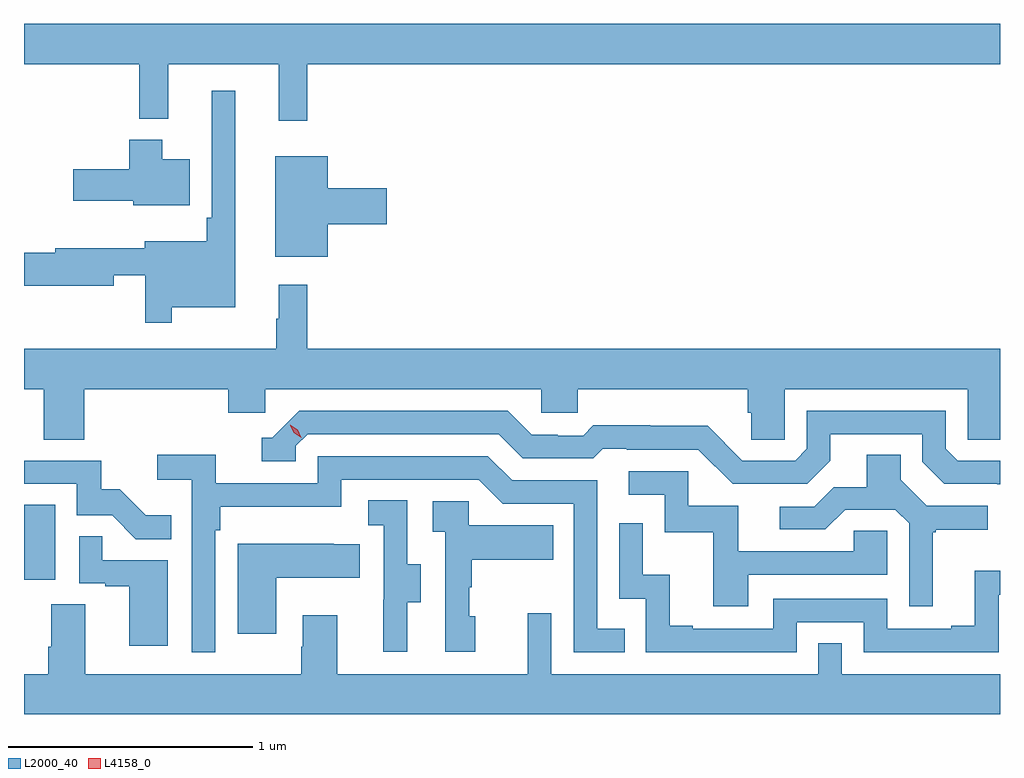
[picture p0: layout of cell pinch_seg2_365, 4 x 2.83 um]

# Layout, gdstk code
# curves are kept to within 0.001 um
import gdstk
lib = gdstk.Library(unit=1e-6, precision=1e-09)
def R(c, l, rs):  # rectangles x0, y0, x1, y1
    for r in rs: c.add(gdstk.rectangle(r[:2], r[2:], *l))
def P(c, l, *ps):  # polygons
    for p in ps: c.add(gdstk.Polygon(p, *l))
L2000_40 = (2000, 40)
L4158_0 = (4158, 0)

pinch_seg2_365 = lib.new_cell('pinch_seg2_365')
R(pinch_seg2_365, L2000_40, [(1008.734,606.894,1008.862,607.201)])
P(pinch_seg2_365, L2000_40, [(1009.895,609.008),(1012.734,609.008),(1012.734,609.172),(1008.734,609.172),(1008.734,609.008),(1009.207,609.008),(1009.207,608.783),(1009.325,608.783),(1009.325,609.008),(1009.778,609.008),(1009.778,608.775),(1009.895,608.775)],
  [(1009.339,608.012),(1009.6,608.012),(1009.6,608.899),(1009.503,608.899),(1009.503,608.377),(1009.483,608.377),(1009.483,608.281),(1009.229,608.281),(1009.229,608.252),(1008.863,608.252),(1008.863,608.234),(1008.734,608.234),(1008.734,608.099),(1009.102,608.099),(1009.102,608.142),(1009.23,608.142),(1009.23,607.947),(1009.339,607.947)],
  [(1009.414,608.617),(1009.3,608.617),(1009.3,608.698),(1009.166,608.698),(1009.166,608.577),(1008.936,608.577),(1008.936,608.447),(1009.182,608.447),(1009.182,608.429),(1009.414,608.429)],
  [(1009.978,608.351),(1010.221,608.351),(1010.221,608.498),(1009.978,608.498),(1009.978,608.629),(1009.763,608.629),(1009.763,608.219),(1009.978,608.219)],
  [(1008.98,607.676),(1009.571,607.676),(1009.571,607.578),(1009.722,607.578),(1009.722,607.676),(1010.853,607.676),(1010.853,607.578),(1011.003,607.578),(1011.003,607.676),(1011.701,607.676),(1011.701,607.578),(1011.715,607.578),(1011.715,607.468),(1011.852,607.468),(1011.852,607.676),(1012.602,607.676),(1012.602,607.468),(1012.734,607.468),(1012.734,607.84),(1009.895,607.84),(1009.895,608.104),(1009.778,608.104),(1009.778,607.964),(1009.767,607.964),(1009.767,607.84),(1008.734,607.84),(1008.734,607.676),(1008.815,607.676),(1008.815,607.468),(1008.98,607.468)],
  [(1012.734,607.383),(1012.56,607.383),(1012.512,607.431),(1012.512,607.587),(1011.942,607.587),(1011.942,607.431),(1011.894,607.383),(1011.678,607.383),(1011.536,607.525),(1011.3,607.525),(1011.3,607.528),(1011.067,607.528),(1011.025,607.485),(1010.922,607.485),(1010.922,607.488),(1010.815,607.488),(1010.716,607.587),(1009.863,607.587),(1009.752,607.476),(1009.709,607.476),(1009.709,607.38),(1009.848,607.38),(1009.848,607.443),(1009.896,607.491),(1010.679,607.491),(1010.778,607.392),(1011.067,607.392),(1011.106,607.431),(1011.205,607.431),(1011.205,607.428),(1011.498,607.428),(1011.639,607.287),(1011.945,607.287),(1012.039,607.381),(1012.039,607.491),(1012.416,607.491),(1012.416,607.377),(1012.506,607.287),(1012.734,607.286)],
  [(1012.459,607.089),(1012.471,607.089),(1012.471,607.1),(1012.684,607.1),(1012.684,607.197),(1012.434,607.197),(1012.327,607.304),(1012.327,607.406),(1012.187,607.406),(1012.187,607.274),(1012.052,607.274),(1011.972,607.194),(1011.831,607.194),(1011.831,607.101),(1012.018,607.101),(1012.099,607.182),(1012.305,607.182),(1012.362,607.125),(1012.362,606.786),(1012.459,606.786)],
  [(1009.518,607.097),(1009.538,607.097),(1009.538,607.193),(1010.034,607.193),(1010.034,607.305),(1010.598,607.305),(1010.697,607.206),(1010.988,607.206),(1010.988,606.597),(1011.197,606.597),(1011.197,606.693),(1011.084,606.693),(1011.084,607.302),(1010.734,607.302),(1010.635,607.401),(1009.938,607.401),(1009.938,607.29),(1009.52,607.29),(1009.52,607.406),(1009.281,607.406),(1009.281,607.304),(1009.422,607.304),(1009.422,606.597),(1009.518,606.597)],
  [(1009.337,607.159),(1009.233,607.159),(1009.126,607.266),(1009.05,607.266),(1009.05,607.383),(1008.734,607.383),(1008.734,607.287),(1008.951,607.287),(1008.951,607.158),(1009.095,607.158),(1009.193,607.06),(1009.337,607.06)],
  [(1011.703,606.915),(1012.272,606.915),(1012.272,607.095),(1012.135,607.095),(1012.135,607.011),(1011.661,607.011),(1011.661,607.197),(1011.456,607.197),(1011.456,607.338),(1011.213,607.338),(1011.213,607.242),(1011.36,607.242),(1011.36,607.089),(1011.559,607.089),(1011.559,606.786),(1011.703,606.786)],
  [(1010.305,606.802),(1010.359,606.802),(1010.359,606.957),(1010.304,606.957),(1010.304,607.22),(1010.145,607.22),(1010.145,607.117),(1010.208,607.117),(1010.208,606.813),(1010.207,606.813),(1010.207,606.6),(1010.305,606.6)],
  [(1010.584,606.744),(1010.559,606.744),(1010.559,606.863),(1010.569,606.863),(1010.569,606.977),(1010.903,606.977),(1010.903,607.117),(1010.556,607.117),(1010.556,607.215),(1010.409,607.215),(1010.409,607.091),(1010.46,607.091),(1010.46,606.6),(1010.584,606.6)],
  [(1011.9,606.72),(1012.176,606.72),(1012.176,606.597),(1012.728,606.597),(1012.728,606.833),(1012.734,606.833),(1012.734,606.931),(1012.631,606.931),(1012.631,606.706),(1012.535,606.706),(1012.535,606.693),(1012.272,606.693),(1012.272,606.816),(1011.804,606.816),(1011.804,606.693),(1011.475,606.693),(1011.475,606.706),(1011.38,606.706),(1011.38,606.914),(1011.27,606.914),(1011.27,607.126),(1011.174,607.126),(1011.174,606.816),(1011.282,606.816),(1011.282,606.597),(1011.9,606.597)],
  [(1009.324,606.975),(1009.055,606.975),(1009.055,607.073),(1008.96,607.073),(1008.96,606.879),(1009.067,606.879),(1009.067,606.867),(1009.166,606.867),(1009.166,606.624),(1009.324,606.624)],
  [(1009.768,606.902),(1010.111,606.902),(1010.111,607.039),(1010.003,607.039),(1010.003,607.042),(1009.61,607.042),(1009.61,606.672),(1009.768,606.672)],
  [(1012.734,606.508),(1012.086,606.508),(1012.086,606.635),(1011.99,606.635),(1011.99,606.508),(1010.895,606.508),(1010.895,606.757),(1010.798,606.757),(1010.798,606.508),(1010.017,606.508),(1010.017,606.748),(1009.877,606.748),(1009.877,606.62),(1009.87,606.62),(1009.87,606.508),(1008.985,606.508),(1008.985,606.794),(1008.845,606.794),(1008.845,606.62),(1008.833,606.62),(1008.833,606.508),(1008.734,606.508),(1008.734,606.344),(1012.734,606.344)])
P(pinch_seg2_365, L4158_0, [(1009.871,607.476),(1009.84,607.496),(1009.825,607.528),(1009.825,607.529),(1009.825,607.529),(1009.855,607.509),(1009.871,607.477),(1009.871,607.476)])

lib.write_gds('pinch_seg2_365.gds')
